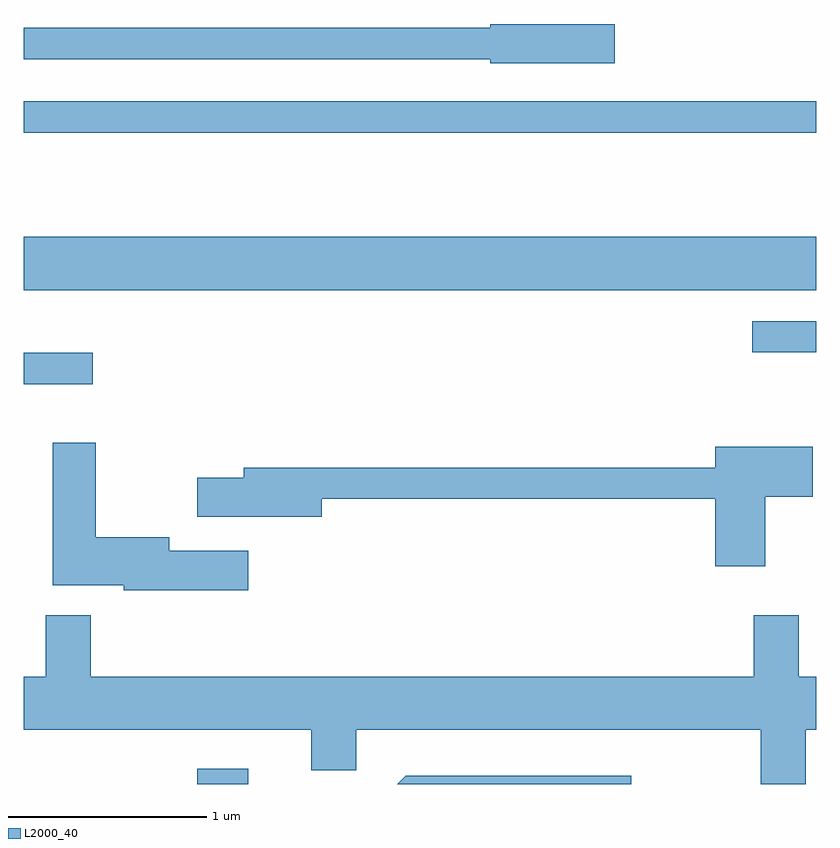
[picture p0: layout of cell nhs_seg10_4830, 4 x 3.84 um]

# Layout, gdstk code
import gdstk
lib = gdstk.Library(unit=1e-6, precision=1e-09)
def R(c, l, rs):  # rectangles x0, y0, x1, y1
    for r in rs: c.add(gdstk.rectangle(r[:2], r[2:], *l))
def P(c, l, *ps):  # polygons
    for p in ps: c.add(gdstk.Polygon(p, *l))
L2000_40 = (2000, 40)

nhs_seg10_4830 = lib.new_cell('nhs_seg10_4830')
R(nhs_seg10_4830, L2000_40, [(328.486,2122.522,328.744,2122.599), (327.611,2124.541,327.958,2124.699), (331.288,2124.701,331.611,2124.859), (327.611,2125.016,331.611,2125.284), (327.611,2125.811,331.611,2125.969)])
P(nhs_seg10_4830, L2000_40, [(330.594,2126.359),(329.966,2126.359),(329.966,2126.339),(327.611,2126.339),(327.611,2126.181),(329.966,2126.181),(329.966,2126.161),(330.594,2126.161)],
  [(328.744,2123.699),(328.344,2123.699),(328.344,2123.769),(327.974,2123.769),(327.974,2124.244),(327.756,2124.244),(327.756,2123.526),(328.116,2123.526),(328.116,2123.501),(328.744,2123.501)],
  [(331.354,2123.971),(331.594,2123.971),(331.594,2124.224),(331.101,2124.224),(331.101,2124.119),(328.721,2124.119),(328.721,2124.069),(328.486,2124.069),(328.486,2123.871),(329.114,2123.871),(329.114,2123.961),(331.101,2123.961),(331.101,2123.621),(331.354,2123.621)],
  [(331.559,2122.796),(331.611,2122.796),(331.611,2123.064),(331.524,2123.064),(331.524,2123.374),(331.296,2123.374),(331.296,2123.064),(327.949,2123.064),(327.949,2123.374),(327.721,2123.374),(327.721,2123.064),(327.611,2123.064),(327.611,2122.796),(329.061,2122.796),(329.061,2122.591),(329.289,2122.591),(329.289,2122.796),(331.331,2122.796),(331.331,2122.522),(331.559,2122.522)],
  [(330.678,2122.564),(329.539,2122.564),(329.497,2122.522),(330.678,2122.522)])

lib.write_gds('nhs_seg10_4830.gds')
